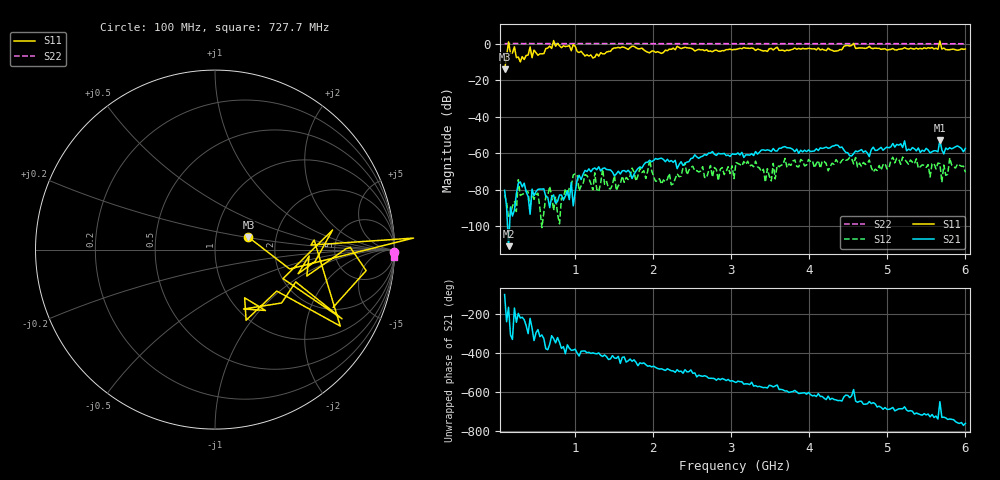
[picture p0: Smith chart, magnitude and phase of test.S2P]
!Created with skrf (http://scikit-rf.org).
# MHz S RI R 50.0
!freq ReS11 ImS11 ReS21 ImS21 ReS12 ImS12 ReS22 ImS22
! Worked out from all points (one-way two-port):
!   236 points, 100 MHz to 6 GHz, reference 50 ohm
!   highest |S21| = -52.75 dB at 5.674 GHz (marker M1); lowest = -110.8 dB at 150.2 MHz (marker M2)
!   lowest |S11| = -14.0 dB at 100 MHz (marker M3), VSWR 1.50, Z = 72 + j10.4 ohm
!   |S11| at or under -10 dB: start of sweep to 115.1 MHz; 300.601 MHz to 301.0826 MHz (481.5 kHz wide, 0.16 % of centre)
!   |S22| runs from -0.1 to 0.1 dB; largest |S21 - S12| = 0.0026
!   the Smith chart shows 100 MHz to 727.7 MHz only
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100  0.1864 0.0695  -1.97e-05 -9.6e-05  6.62e-05 -3.1e-05  0.9971 -0.0128
150.2128  1.106 0.0642  -2.81e-06 -6.85e-07  -1.69e-05 -2.71e-06  1.003 -0.00533
275.7447  0.1733 -0.3936  -0.000145 4.58e-05  -0.000183 -5.08e-05  1.004 -0.0253
476.5957  0.6554 0.1095  6.39e-05 2.77e-05  -2.19e-05 5.05e-05  1.001 -0.0315
702.5532  0.6589 -0.321  4.25e-05 4.82e-05  -2.42e-05 -6.35e-05  0.9987 -0.0397
727.6596  1.134 -0.4469  6.06e-05 4.05e-05  -2.68e-05 4.88e-06  0.9988 -0.0434
1104.255  0.52 -0.1075  0.000229 -0.000131  -4.07e-05 0.000138  0.9998 -0.0672
1254.894  0.4114 -0.1044  0.000293 -0.000268  9.91e-05 0.000275  1 -0.0767
1305.106  0.4305 -0.1448  0.000332 -0.000271  -7.48e-05 4.83e-05  0.9974 -0.0774
1355.319  0.4999 -0.161  0.000208 -0.000325  0.00021 0.000307  1 -0.0825
1531.064  0.7411 -0.182  0.000107 -0.000254  1.67e-05 9.39e-05  0.9964 -0.0911
1957.872  0.5363 -0.1627  -0.000165 -0.000624  0.000667 2.59e-05  0.9968 -0.1188
2083.404  0.5536 -0.1391  -0.000375 -0.00061  0.000103 0.000174  0.9924 -0.1257
3062.553  0.6659 -0.1838  -0.000924 0.000169  0.000387 -0.000401  0.9837 -0.1828
3439.149  0.5893 -0.2498  -0.000972 0.000695  3.45e-05 -0.000157  0.9785 -0.2066
4041.702  0.6643 -0.2641  -0.000223 0.00112  -0.000331 -0.000537  0.9703 -0.2411
5020.851  0.6005 -0.3279  0.00119 0.000763  -0.000368 -0.000139  0.9512 -0.301
5648.511  0.6089 -0.3416  0.00105 -0.000317  -0.000257 0.000477  0.935 -0.3358
5673.617  0.8436 -0.825  0.000723 0.00219  -6.3e-05 0.000517  0.9386 -0.3382
5698.723  0.5812 -0.3979  0.00122 -0.000178  -0.000115 0.000112  0.9364 -0.3439
5799.149  0.5611 -0.3845  0.00136 -0.000401  -0.000554 0.000498  0.9249 -0.345
6000  0.5535 -0.4456  0.00107 -0.00086  -0.000202 0.000224  0.9234 -0.3647
